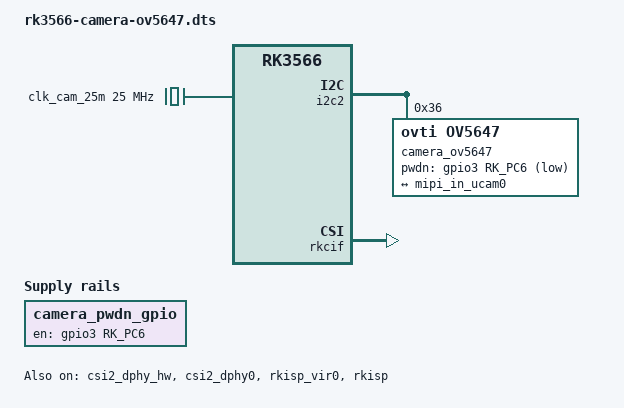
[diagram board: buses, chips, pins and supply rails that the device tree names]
/*
 * Device tree overlay for OV5647 (Raspberry Pi Camera v1.3) on RK3566
 *
 * Compatible with Radxa Zero 3W and similar RK3566-based boards
 * Uses I2C2 and CSI2 DPHY0 in full mode (2 lanes)
 *
 * Copyright (c) 2024 MYSh LLC
 */
/dts-v1/;
/plugin/;

#include "dt-bindings.h"

/ {
	compatible = "rockchip,rk3566";

	metadata {
		title = "OV5647 Camera (Raspberry Pi Camera v1.3)";
		category = "camera";
		exclusive = "csi2_dphy0";
		description = "Enable OmniVision OV5647 5MP camera sensor on CSI2 DPHY0";
	};
};

&{/} {
	clk_cam_25m: external-camera-clock-25m {
		status = "okay";
		compatible = "fixed-clock";
		clock-frequency = <25000000>;
		clock-output-names = "clk_cam_25m";
		#clock-cells = <0>;
	};

	camera_pwdn_gpio: camera-pwdn-gpio {
		status = "okay";
		compatible = "regulator-fixed";
		regulator-name = "camera_pwdn_gpio";
		regulator-always-on;
		regulator-boot-on;
		enable-active-high;
		gpio = <&gpio3 RK_PC6 GPIO_ACTIVE_HIGH>;
	};
};

&i2c2 {
	status = "okay";
	pinctrl-names = "default";
	pinctrl-0 = <&i2c2m1_xfer>;
	#address-cells = <1>;
	#size-cells = <0>;

	camera_ov5647: camera-ov5647@36 {
		status = "okay";
		compatible = "ovti,ov5647";
		reg = <0x36>;
		clocks = <&clk_cam_25m>;
		clock-names = "xvclk";
		pwdn-gpios = <&gpio3 RK_PC6 GPIO_ACTIVE_LOW>;
		rockchip,camera-module-index = <0>;
		rockchip,camera-module-facing = "back";
		rockchip,camera-module-name = "rpi-camera-v1p3";
		rockchip,camera-module-lens-name = "default";

		port {
			ov5647_out: endpoint {
				remote-endpoint = <&mipi_in_ucam0>;
				data-lanes = <1 2>;
			};
		};
	};
};

&csi2_dphy_hw {
	status = "okay";
};

&csi2_dphy0 {
	status = "okay";

	ports {
		#address-cells = <1>;
		#size-cells = <0>;

		port@0 {
			reg = <0>;
			#address-cells = <1>;
			#size-cells = <0>;

			mipi_in_ucam0: endpoint@1 {
				reg = <1>;
				remote-endpoint = <&ov5647_out>;
				data-lanes = <1 2>;
			};
		};

		port@1 {
			reg = <1>;
			#address-cells = <1>;
			#size-cells = <0>;

			dphy0_out: endpoint@1 {
				reg = <1>;
				remote-endpoint = <&isp0_in>;
			};
		};
	};
};

&rkisp_vir0 {
	status = "okay";

	port {
		#address-cells = <1>;
		#size-cells = <0>;

		isp0_in: endpoint@0 {
			reg = <0>;
			remote-endpoint = <&dphy0_out>;
		};
	};
};

&rkisp {
	status = "okay";
};

&rkisp_mmu {
	status = "okay";
};

&rkcif_mmu {
	status = "okay";
};

&rkcif {
	status = "okay";
};
